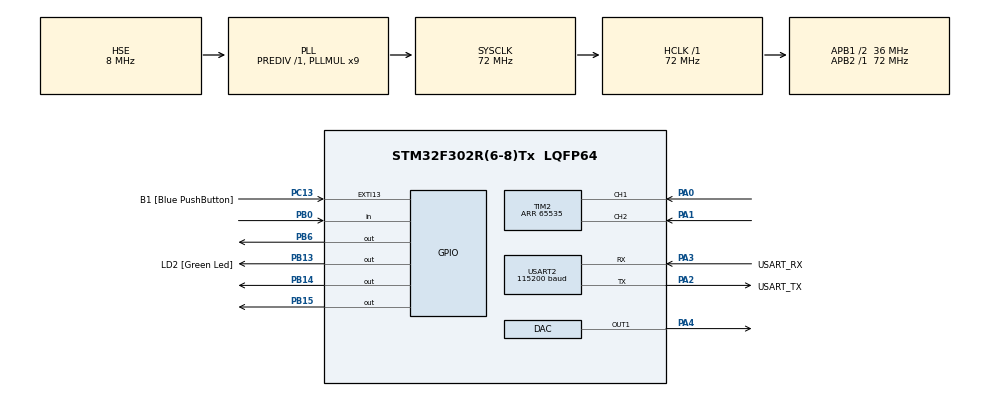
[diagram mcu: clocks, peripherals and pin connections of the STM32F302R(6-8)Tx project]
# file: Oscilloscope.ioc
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DAC.DAC_Trigger=DAC_TRIGGER_T2_TRGO
Dma.DAC_CH1.0.Direction=DMA_MEMORY_TO_PERIPH
Dma.DAC_CH1.0.Instance=DMA1_Channel3
Dma.DAC_CH1.0.MemDataAlignment=DMA_MDATAALIGN_WORD
Dma.DAC_CH1.0.MemInc=DMA_MINC_ENABLE
Dma.DAC_CH1.0.Mode=DMA_CIRCULAR
Dma.DAC_CH1.0.PeriphDataAlignment=DMA_PDATAALIGN_WORD
Dma.DAC_CH1.0.PeriphInc=DMA_PINC_DISABLE
Dma.DAC_CH1.0.Priority=DMA_PRIORITY_LOW
Dma.Request0=DAC_CH1
Mcu.Family=STM32F3
Mcu.Name=STM32F302R(6-8)Tx
Mcu.Package=LQFP64
NVIC.DMA1_Channel3_IRQn=true\:0\:0\:false\:false\:true\:false\:true\:true
NVIC.PriorityGroup=NVIC_PRIORITYGROUP_0
NVIC.TIM2_IRQn=true\:0\:0\:false\:false\:true\:true\:true\:true
PA0.Signal=S_TIM2_CH1_ETR
PA1.Signal=S_TIM2_CH2
PA13.GPIO_Label=TMS
PA13.Mode=Serial_Wire
PA13.Signal=SYS_JTMS-SWDIO
PA14.GPIO_Label=TCK
PA14.Mode=Serial_Wire
PA14.Signal=SYS_JTCK-SWCLK
PA2.GPIO_Label=USART_TX
PA2.GPIO_Mode=GPIO_MODE_AF_PP
PA2.GPIO_PuPd=GPIO_NOPULL
PA2.GPIO_Speed=GPIO_SPEED_FREQ_LOW
PA2.Mode=Asynchronous
PA2.Signal=USART2_TX
PA3.GPIO_Label=USART_RX
PA3.GPIO_Mode=GPIO_MODE_AF_PP
PA3.GPIO_PuPd=GPIO_NOPULL
PA3.GPIO_Speed=GPIO_SPEED_FREQ_LOW
PA3.Mode=Asynchronous
PA3.Signal=USART2_RX
PA4.Signal=COMP_DAC1_group
PB0.Signal=GPIO_Input
PB13.GPIO_Label=LD2 [Green Led]
PB13.Signal=GPIO_Output
PB14.Signal=GPIO_Output
PB15.Signal=GPIO_Output
PB3.GPIO_Label=SWO
PB3.Mode=Trace_Asynchronous_SW
PB3.Signal=SYS_JTDO-TRACESWO
PB6.Signal=GPIO_Output
PC13.GPIO_Label=B1 [Blue PushButton]
PC13.GPIO_ModeDefaultEXTI=GPIO_MODE_IT_FALLING
PC13.Signal=GPXTI13
PC14\ -\ OSC32_IN.Signal=RCC_OSC32_IN
PC15\ -\ OSC32_OUT.Signal=RCC_OSC32_OUT
PF0-OSC_IN.Mode=HSE-External-Oscillator
PF0-OSC_IN.Signal=RCC_OSC_IN
PF1-OSC_OUT.Mode=HSE-External-Oscillator
PF1-OSC_OUT.Signal=RCC_OSC_OUT
ProjectManager.HeapSize=0x200
ProjectManager.StackSize=0x400
ProjectManager.TargetToolchain=STM32CubeIDE
RCC.AHBFreq_Value=72000000
RCC.APB1CLKDivider=RCC_HCLK_DIV2
RCC.APB1Freq_Value=36000000
RCC.APB1TimFreq_Value=72000000
RCC.APB2Freq_Value=72000000
RCC.APB2TimFreq_Value=72000000
RCC.CortexFreq_Value=72000000
RCC.HCLKFreq_Value=72000000
RCC.HSE_VALUE=8000000
RCC.HSI_VALUE=8000000
RCC.LSE_VALUE=32768
RCC.PLLM=8
RCC.PLLMUL=RCC_PLL_MUL9
RCC.PLLN=336
RCC.PLLP=RCC_PLLP_DIV4
RCC.PLLQ=7
RCC.PLLSourceVirtual=RCC_PLLSOURCE_HSE
RCC.SYSCLKFreq_VALUE=72000000
RCC.SYSCLKSourceVirtual=RCC_SYSCLKSOURCE_PLLCLK
RCC.USBFreq_Value=72000000
SH.COMP_DAC1_group.0=DAC_OUT1,DAC_OUT1
SH.S_TIM2_CH1_ETR.0=TIM2_CH1,Encoder_Interface
SH.S_TIM2_CH2.0=TIM2_CH2,Encoder_Interface
TIM1.Period=100
TIM1.Prescaler=72-1
TIM1.TIM_MasterOutputTrigger=TIM_TRGO_UPDATE
TIM2.EncoderMode=TIM_ENCODERMODE_TI12
TIM2.IC1Polarity=TIM_ICPOLARITY_FALLING
TIM2.IC2Polarity=TIM_ICPOLARITY_FALLING
TIM2.Period=65535
USART2.BaudRate=115200
USART2.VirtualMode-Asynchronous=VM_ASYNC
VP_TIM1_VS_ClockSourceINT.Mode=Internal
board=NUCLEO-F302R8

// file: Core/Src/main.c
/* USER CODE BEGIN Header */
/**
 ******************************************************************************
 * @file           : main.c
 * @brief          : Main program body
 ******************************************************************************
 * @attention
 *
 * Copyright (c) 2023 STMicroelectronics.
 * All rights reserved.
 *
 * This software is licensed under terms that can be found in the LICENSE file
 * in the root directory of this software component.
 * If no LICENSE file comes with this software, it is provided AS-IS.
 *
 ******************************************************************************
 */
/* USER CODE END Header */
#include "main.h"

/* USER CODE BEGIN Includes */
#include "max_matrix_stm32.h"
#include "math.h"
#include "stdbool.h"
/* USER CODE END Includes */

DAC_HandleTypeDef hdac;
DMA_HandleTypeDef hdma_dac_ch1;

TIM_HandleTypeDef htim1;
TIM_HandleTypeDef htim2;

UART_HandleTypeDef huart2;

void SystemClock_Config(void);
static void MX_GPIO_Init(void);
static void MX_DMA_Init(void);
static void MX_USART2_UART_Init(void);
static void MX_DAC_Init(void);
static void MX_TIM2_Init(void);
static void MX_TIM1_Init(void);

/* USER CODE BEGIN 0 */
uint32_t sine_val[100];
uint32_t counter = 0;

void calcsin() {
	for (int i = 0; i < 100; i++) {
		sine_val[i] = ((sin(i * 2 * M_PI / 100) + 1) * (4096 / 2));
	}
}
void HAL_TIM_IC_CaptureCallback(TIM_HandleTypeDef *htim)
{
	counter = __HAL_TIM_GET_COUNTER(htim);
}

/* USER CODE END 0 */

int main(void)
{
  /* USER CODE BEGIN 1 */
	  GPIO_PinState estpul;
	  bool ctrl = false;
  /* USER CODE END 1 */

  /* MCU Configuration--------------------------------------------------------*/

  /* Reset of all peripherals, Initializes the Flash interface and the Systick. */
  HAL_Init();

  /* Configure the system clock */
  SystemClock_Config();

  /* Initialize all configured peripherals */
  MX_GPIO_Init();
  MX_DMA_Init();
  MX_USART2_UART_Init();
  MX_DAC_Init();
  MX_TIM2_Init();
  MX_TIM1_Init();
  /* USER CODE BEGIN 2 */
    HAL_TIM_Encoder_Start(&htim2, TIM_CHANNEL_ALL);
	HAL_TIM_Base_Start(&htim1);
	calcsin();
	HAL_DAC_Start_DMA(&hdac, DAC_CHANNEL_1, sine_val, 100, DAC_ALIGN_12B_R);
	max_init(0x03);
  /* USER CODE END 2 */

  /* Infinite loop */
  /* USER CODE BEGIN WHILE */
  while (1)
  {
	  estpul = HAL_GPIO_ReadPin(GPIOB, GPIO_PIN_0);

	  	if (estpul && !ctrl){

	  		ctrl = true;
	  		HAL_Delay(50);
	  	}
	  	else if (!estpul && ctrl){

	  	HAL_GPIO_TogglePin(GPIOB, GPIO_PIN_13);
	  	ctrl = false ;
	  	HAL_Delay(50);
	  	}

    /* USER CODE END WHILE */

}
}

void SystemClock_Config(void)
{
  RCC_OscInitTypeDef RCC_OscInitStruct = {0};
  RCC_ClkInitTypeDef RCC_ClkInitStruct = {0};
  RCC_PeriphCLKInitTypeDef PeriphClkInit = {0};

  /** Initializes the RCC Oscillators according to the specified parameters
  * in the RCC_OscInitTypeDef structure.
  */
  RCC_OscInitStruct.OscillatorType = RCC_OSCILLATORTYPE_HSE;
  RCC_OscInitStruct.HSEState = RCC_HSE_ON;
  RCC_OscInitStruct.HSEPredivValue = RCC_HSE_PREDIV_DIV1;
  RCC_OscInitStruct.HSIState = RCC_HSI_ON;
  RCC_OscInitStruct.PLL.PLLState = RCC_PLL_ON;
  RCC_OscInitStruct.PLL.PLLSource = RCC_PLLSOURCE_HSE;
  RCC_OscInitStruct.PLL.PLLMUL = RCC_PLL_MUL9;
  if (HAL_RCC_OscConfig(&RCC_OscInitStruct) != HAL_OK)
  {
    Error_Handler();
  }

  /** Initializes the CPU, AHB and APB buses clocks
  */
  RCC_ClkInitStruct.ClockType = RCC_CLOCKTYPE_HCLK|RCC_CLOCKTYPE_SYSCLK
                              |RCC_CLOCKTYPE_PCLK1|RCC_CLOCKTYPE_PCLK2;
  RCC_ClkInitStruct.SYSCLKSource = RCC_SYSCLKSOURCE_PLLCLK;
  RCC_ClkInitStruct.AHBCLKDivider = RCC_SYSCLK_DIV1;
  RCC_ClkInitStruct.APB1CLKDivider = RCC_HCLK_DIV2;
  RCC_ClkInitStruct.APB2CLKDivider = RCC_HCLK_DIV1;

  if (HAL_RCC_ClockConfig(&RCC_ClkInitStruct, FLASH_LATENCY_2) != HAL_OK)
  {
    Error_Handler();
  }
  PeriphClkInit.PeriphClockSelection = RCC_PERIPHCLK_TIM1;
  PeriphClkInit.Tim1ClockSelection = RCC_TIM1CLK_HCLK;
  if (HAL_RCCEx_PeriphCLKConfig(&PeriphClkInit) != HAL_OK)
  {
    Error_Handler();
  }
}

static void MX_DAC_Init(void)
{

  DAC_ChannelConfTypeDef sConfig = {0};

  /** DAC Initialization
  */
  hdac.Instance = DAC;
  if (HAL_DAC_Init(&hdac) != HAL_OK)
  {
    Error_Handler();
  }

  /** DAC channel OUT1 config
  */
  sConfig.DAC_Trigger = DAC_TRIGGER_T2_TRGO;
  sConfig.DAC_OutputBuffer = DAC_OUTPUTBUFFER_ENABLE;
  if (HAL_DAC_ConfigChannel(&hdac, &sConfig, DAC_CHANNEL_1) != HAL_OK)
  {
    Error_Handler();
  }

}

static void MX_TIM1_Init(void)
{

  TIM_ClockConfigTypeDef sClockSourceConfig = {0};
  TIM_MasterConfigTypeDef sMasterConfig = {0};

  htim1.Instance = TIM1;
  htim1.Init.Prescaler = 72-1;
  htim1.Init.CounterMode = TIM_COUNTERMODE_UP;
  htim1.Init.Period = 100;
  htim1.Init.ClockDivision = TIM_CLOCKDIVISION_DIV1;
  htim1.Init.RepetitionCounter = 0;
  htim1.Init.AutoReloadPreload = TIM_AUTORELOAD_PRELOAD_DISABLE;
  if (HAL_TIM_Base_Init(&htim1) != HAL_OK)
  {
    Error_Handler();
  }
  sClockSourceConfig.ClockSource = TIM_CLOCKSOURCE_INTERNAL;
  if (HAL_TIM_ConfigClockSource(&htim1, &sClockSourceConfig) != HAL_OK)
  {
    Error_Handler();
  }
  sMasterConfig.MasterOutputTrigger = TIM_TRGO_UPDATE;
  sMasterConfig.MasterOutputTrigger2 = TIM_TRGO2_RESET;
  sMasterConfig.MasterSlaveMode = TIM_MASTERSLAVEMODE_DISABLE;
  if (HAL_TIMEx_MasterConfigSynchronization(&htim1, &sMasterConfig) != HAL_OK)
  {
    Error_Handler();
  }

}

static void MX_TIM2_Init(void)
{

  TIM_Encoder_InitTypeDef sConfig = {0};
  TIM_MasterConfigTypeDef sMasterConfig = {0};

  htim2.Instance = TIM2;
  htim2.Init.Prescaler = 0;
  htim2.Init.CounterMode = TIM_COUNTERMODE_UP;
  htim2.Init.Period = 65535;
  htim2.Init.ClockDivision = TIM_CLOCKDIVISION_DIV1;
  htim2.Init.AutoReloadPreload = TIM_AUTORELOAD_PRELOAD_DISABLE;
  sConfig.EncoderMode = TIM_ENCODERMODE_TI12;
  sConfig.IC1Polarity = TIM_ICPOLARITY_FALLING;
  sConfig.IC1Selection = TIM_ICSELECTION_DIRECTTI;
  sConfig.IC1Prescaler = TIM_ICPSC_DIV1;
  sConfig.IC1Filter = 0;
  sConfig.IC2Polarity = TIM_ICPOLARITY_FALLING;
  sConfig.IC2Selection = TIM_ICSELECTION_DIRECTTI;
  sConfig.IC2Prescaler = TIM_ICPSC_DIV1;
  sConfig.IC2Filter = 0;
  if (HAL_TIM_Encoder_Init(&htim2, &sConfig) != HAL_OK)
  {
    Error_Handler();
  }
  sMasterConfig.MasterOutputTrigger = TIM_TRGO_RESET;
  sMasterConfig.MasterSlaveMode = TIM_MASTERSLAVEMODE_DISABLE;
  if (HAL_TIMEx_MasterConfigSynchronization(&htim2, &sMasterConfig) != HAL_OK)
  {
    Error_Handler();
  }

}

static void MX_USART2_UART_Init(void)
{

  huart2.Instance = USART2;
  huart2.Init.BaudRate = 115200;
  huart2.Init.WordLength = UART_WORDLENGTH_8B;
  huart2.Init.StopBits = UART_STOPBITS_1;
  huart2.Init.Parity = UART_PARITY_NONE;
  huart2.Init.Mode = UART_MODE_TX_RX;
  huart2.Init.HwFlowCtl = UART_HWCONTROL_NONE;
  huart2.Init.OverSampling = UART_OVERSAMPLING_16;
  huart2.Init.OneBitSampling = UART_ONE_BIT_SAMPLE_DISABLE;
  huart2.AdvancedInit.AdvFeatureInit = UART_ADVFEATURE_NO_INIT;
  if (HAL_UART_Init(&huart2) != HAL_OK)
  {
    Error_Handler();
  }

}

static void MX_DMA_Init(void)
{

  /* DMA controller clock enable */
  __HAL_RCC_DMA1_CLK_ENABLE();

  /* DMA interrupt init */
  /* DMA1_Channel3_IRQn interrupt configuration */
  HAL_NVIC_SetPriority(DMA1_Channel3_IRQn, 0, 0);
  HAL_NVIC_EnableIRQ(DMA1_Channel3_IRQn);

}

static void MX_GPIO_Init(void)
{
  GPIO_InitTypeDef GPIO_InitStruct = {0};

  /* GPIO Ports Clock Enable */
  __HAL_RCC_GPIOC_CLK_ENABLE();
  __HAL_RCC_GPIOF_CLK_ENABLE();
  __HAL_RCC_GPIOA_CLK_ENABLE();
  __HAL_RCC_GPIOB_CLK_ENABLE();

  /*Configure GPIO pin Output Level */
  HAL_GPIO_WritePin(GPIOB, LD2_Pin|GPIO_PIN_14|GPIO_PIN_15|GPIO_PIN_6, GPIO_PIN_RESET);

  /*Configure GPIO pin : B1_Pin */
  GPIO_InitStruct.Pin = B1_Pin;
  GPIO_InitStruct.Mode = GPIO_MODE_IT_FALLING;
  GPIO_InitStruct.Pull = GPIO_NOPULL;
  HAL_GPIO_Init(B1_GPIO_Port, &GPIO_InitStruct);

  /*Configure GPIO pin : PB0 */
  GPIO_InitStruct.Pin = GPIO_PIN_0;
  GPIO_InitStruct.Mode = GPIO_MODE_INPUT;
  GPIO_InitStruct.Pull = GPIO_NOPULL;
  HAL_GPIO_Init(GPIOB, &GPIO_InitStruct);

  /*Configure GPIO pins : LD2_Pin PB14 PB15 PB6 */
  GPIO_InitStruct.Pin = LD2_Pin|GPIO_PIN_14|GPIO_PIN_15|GPIO_PIN_6;
  GPIO_InitStruct.Mode = GPIO_MODE_OUTPUT_PP;
  GPIO_InitStruct.Pull = GPIO_NOPULL;
  GPIO_InitStruct.Speed = GPIO_SPEED_FREQ_LOW;
  HAL_GPIO_Init(GPIOB, &GPIO_InitStruct);

}

void Error_Handler(void)
{
	__disable_irq();
	while (1) {
	}
}
